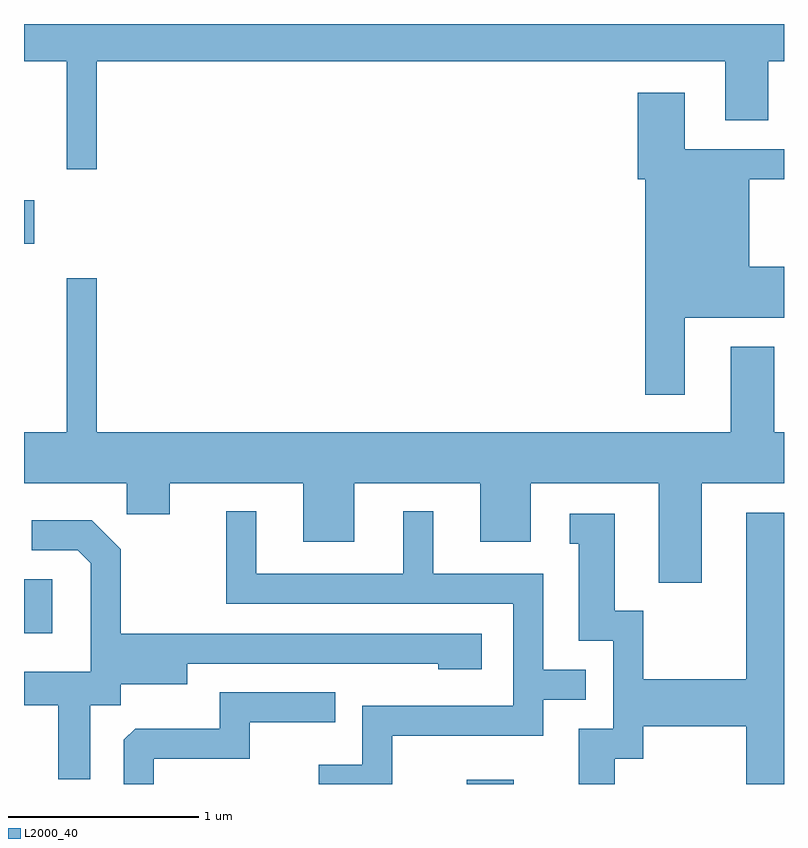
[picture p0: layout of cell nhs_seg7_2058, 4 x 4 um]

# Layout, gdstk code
import gdstk
lib = gdstk.Library(unit=1e-6, precision=1e-09)
def R(c, l, rs):  # rectangles x0, y0, x1, y1
    for r in rs: c.add(gdstk.rectangle(r[:2], r[2:], *l))
def P(c, l, *ps):  # polygons
    for p in ps: c.add(gdstk.Polygon(p, *l))
L2000_40 = (2000, 40)

nhs_seg7_2058 = lib.new_cell('nhs_seg7_2058')
R(nhs_seg7_2058, L2000_40, [(249.941,1748.252,250.189,1748.274), (247.611,1749.046,247.759,1749.329), (247.611,1751.096,247.664,1751.324)])
P(nhs_seg7_2058, L2000_40, [(247.994,1752.056),(251.301,1752.056),(251.301,1751.746),(251.529,1751.746),(251.529,1752.056),(251.611,1752.056),(251.611,1752.252),(247.611,1752.252),(247.611,1752.056),(247.836,1752.056),(247.836,1751.488),(247.994,1751.488)],
  [(251.089,1750.706),(251.611,1750.706),(251.611,1750.974),(251.429,1750.974),(251.429,1751.436),(251.611,1751.436),(251.611,1751.594),(251.089,1751.594),(251.089,1751.889),(250.841,1751.889),(250.841,1751.436),(250.881,1751.436),(250.881,1750.301),(251.089,1750.301)],
  [(247.994,1750.913),(247.836,1750.913),(247.836,1750.104),(247.611,1750.104),(247.611,1749.836),(248.151,1749.836),(248.151,1749.671),(248.379,1749.671),(248.379,1749.836),(249.081,1749.836),(249.081,1749.526),(249.349,1749.526),(249.349,1749.836),(250.011,1749.836),(250.011,1749.526),(250.279,1749.526),(250.279,1749.836),(250.951,1749.836),(250.951,1749.311),(251.179,1749.311),(251.179,1749.836),(251.611,1749.836),(251.611,1750.104),(251.559,1750.104),(251.559,1750.554),(251.331,1750.554),(251.331,1750.104),(247.994,1750.104)],
  [(249.549,1748.506),(250.344,1748.506),(250.344,1748.696),(250.568,1748.696),(250.568,1748.854),(250.344,1748.854),(250.344,1749.359),(249.764,1749.359),(249.764,1749.688),(249.606,1749.688),(249.606,1749.359),(248.834,1749.359),(248.834,1749.688),(248.676,1749.688),(248.676,1749.201),(250.186,1749.201),(250.186,1748.664),(249.391,1748.664),(249.391,1748.354),(249.163,1748.354),(249.163,1748.252),(249.549,1748.252)],
  [(250.719,1748.386),(250.869,1748.386),(250.869,1748.556),(251.411,1748.556),(251.411,1748.252),(251.611,1748.252),(251.611,1749.679),(251.411,1749.679),(251.411,1748.804),(250.869,1748.804),(250.869,1749.164),(250.719,1749.164),(250.719,1749.674),(250.483,1749.674),(250.483,1749.516),(250.531,1749.516),(250.531,1749.006),(250.711,1749.006),(250.711,1748.544),(250.531,1748.544),(250.531,1748.252),(250.719,1748.252)],
  [(247.959,1748.666),(248.119,1748.666),(248.119,1748.776),(248.469,1748.776),(248.469,1748.886),(249.791,1748.886),(249.791,1748.856),(250.019,1748.856),(250.019,1749.044),(248.119,1749.044),(248.119,1749.487),(247.967,1749.639),(247.653,1749.639),(247.653,1749.481),(247.894,1749.481),(247.961,1749.414),(247.961,1748.844),(247.611,1748.844),(247.611,1748.666),(247.791,1748.666),(247.791,1748.278),(247.959,1748.278)],
  [(248.294,1748.386),(248.799,1748.386),(248.799,1748.576),(249.248,1748.576),(249.248,1748.734),(248.641,1748.734),(248.641,1748.544),(248.197,1748.544),(248.136,1748.484),(248.136,1748.252),(248.294,1748.252)])

lib.write_gds('nhs_seg7_2058.gds')
